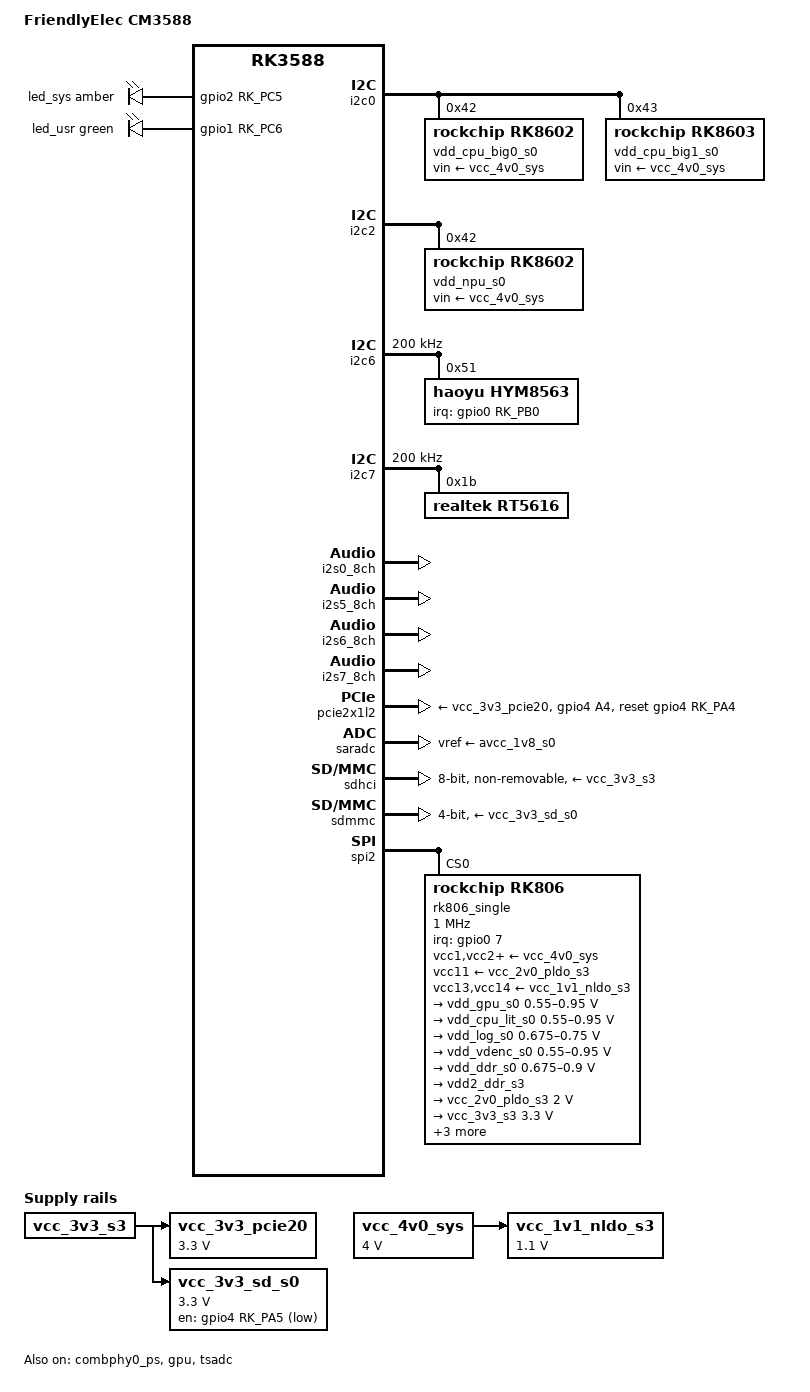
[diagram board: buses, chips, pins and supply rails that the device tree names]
// SPDX-License-Identifier: (GPL-2.0+ OR MIT)
/*
 * Copyright (c) 2021 Rockchip Electronics Co., Ltd.
 * Copyright (c) 2023 Thomas McKahan
 * Copyright (c) 2024 Sebastian Kropatsch
 *
 */

/dts-v1/;

#include <dt-bindings/gpio/gpio.h>
#include <dt-bindings/leds/common.h>
#include <dt-bindings/pinctrl/rockchip.h>
#include "rk3588.dtsi"

/ {
	model = "FriendlyElec CM3588";
	compatible = "friendlyarm,cm3588", "rockchip,rk3588";

	aliases {
		mmc0 = &sdhci;
		mmc1 = &sdmmc;
	};

	chosen {
		stdout-path = "serial2:1500000n8";
	};

	leds {
		compatible = "gpio-leds";

		led_sys: led-0 {
			color = <LED_COLOR_ID_AMBER>;
			function = LED_FUNCTION_HEARTBEAT;
			gpios = <&gpio2 RK_PC5 GPIO_ACTIVE_HIGH>;
			linux,default-trigger = "heartbeat";
			pinctrl-names = "default";
			pinctrl-0 = <&led_sys_pin>;
		};

		led_usr: led-1 {
			color = <LED_COLOR_ID_GREEN>;
			function = LED_FUNCTION_INDICATOR;
			gpios = <&gpio1 RK_PC6 GPIO_ACTIVE_HIGH>;
			pinctrl-names = "default";
			pinctrl-0 = <&led_usr_pin>;
		};
	};

	/* vcc_4v0_sys powers the RK806 and RK860's */
	vcc_4v0_sys: regulator-vcc-4v0-sys {
		compatible = "regulator-fixed";
		regulator-name = "vcc_4v0_sys";
		regulator-always-on;
		regulator-boot-on;
		regulator-min-microvolt = <4000000>;
		regulator-max-microvolt = <4000000>;
	};

	vcc_3v3_pcie20: regulator-vcc-3v3-pcie20 {
		compatible = "regulator-fixed";
		regulator-name = "vcc_3v3_pcie20";
		regulator-always-on;
		regulator-boot-on;
		regulator-min-microvolt = <3300000>;
		regulator-max-microvolt = <3300000>;
		vin-supply = <&vcc_3v3_s3>;
	};

	vcc_3v3_sd_s0: regulator-vcc-3v3-sd-s0 {
		compatible = "regulator-fixed";
		gpios = <&gpio4 RK_PA5 GPIO_ACTIVE_HIGH>;
		pinctrl-names = "default";
		pinctrl-0 = <&sd_s0_pwr>;
		regulator-boot-on;
		regulator-max-microvolt = <3300000>;
		regulator-min-microvolt = <3300000>;
		regulator-name = "vcc_3v3_sd_s0";
		vin-supply = <&vcc_3v3_s3>;
	};

	vcc_1v1_nldo_s3: regulator-vcc-1v1-nldo-s3 {
		compatible = "regulator-fixed";
		regulator-name = "vcc-1v1-nldo-s3";
		regulator-always-on;
		regulator-boot-on;
		regulator-min-microvolt = <1100000>;
		regulator-max-microvolt = <1100000>;
		vin-supply = <&vcc_4v0_sys>;
	};
};

/* Combo PHY 0 is configured to act as as PCIe 2.0 PHY */
/* Used by PCIe controller 4 (pcie2x1l2) */
&combphy0_ps {
	status = "okay";
};

&cpu_l0 {
	cpu-supply = <&vdd_cpu_lit_s0>;
};

&cpu_l1 {
	cpu-supply = <&vdd_cpu_lit_s0>;
};

&cpu_l2 {
	cpu-supply = <&vdd_cpu_lit_s0>;
};

&cpu_l3 {
	cpu-supply = <&vdd_cpu_lit_s0>;
};

&cpu_b0 {
	cpu-supply = <&vdd_cpu_big0_s0>;
};

&cpu_b1 {
	cpu-supply = <&vdd_cpu_big0_s0>;
};

&cpu_b2 {
	cpu-supply = <&vdd_cpu_big1_s0>;
};

&cpu_b3 {
	cpu-supply = <&vdd_cpu_big1_s0>;
};

&gpu {
	mali-supply = <&vdd_gpu_s0>;
	sram-supply = <&vdd_gpu_mem_s0>;
	status = "okay";
};

&i2c0 {
	pinctrl-names = "default";
	pinctrl-0 = <&i2c0m2_xfer>;
	status = "okay";

	vdd_cpu_big0_s0: regulator@42 {
		compatible = "rockchip,rk8602";
		reg = <0x42>;
		fcs,suspend-voltage-selector = <1>;
		regulator-name = "vdd_cpu_big0_s0";
		regulator-always-on;
		regulator-boot-on;
		regulator-min-microvolt = <550000>;
		regulator-max-microvolt = <1050000>;
		regulator-ramp-delay = <2300>;
		vin-supply = <&vcc_4v0_sys>;

		regulator-state-mem {
			regulator-off-in-suspend;
		};
	};

	vdd_cpu_big1_s0: regulator@43 {
		compatible = "rockchip,rk8603", "rockchip,rk8602";
		reg = <0x43>;
		fcs,suspend-voltage-selector = <1>;
		regulator-name = "vdd_cpu_big1_s0";
		regulator-always-on;
		regulator-boot-on;
		regulator-min-microvolt = <550000>;
		regulator-max-microvolt = <1050000>;
		regulator-ramp-delay = <2300>;
		vin-supply = <&vcc_4v0_sys>;

		regulator-state-mem {
			regulator-off-in-suspend;
		};
	};
};

&i2c2 {
	status = "okay";

	vdd_npu_s0: regulator@42 {
		compatible = "rockchip,rk8602";
		reg = <0x42>;
		fcs,suspend-voltage-selector = <1>;
		regulator-name = "vdd_npu_s0";
		regulator-always-on;
		regulator-boot-on;
		regulator-min-microvolt = <550000>;
		regulator-max-microvolt = <950000>;
		regulator-ramp-delay = <2300>;
		vin-supply = <&vcc_4v0_sys>;

		regulator-state-mem {
			regulator-off-in-suspend;
		};
	};
};

&i2c6 {
	clock-frequency = <200000>;
	pinctrl-names = "default";
	pinctrl-0 = <&i2c6m0_xfer>;
	status = "okay";

	hym8563: rtc@51 {
		compatible = "haoyu,hym8563";
		reg = <0x51>;
		#clock-cells = <0>;
		clock-output-names = "hym8563";
		interrupt-parent = <&gpio0>;
		interrupts = <RK_PB0 IRQ_TYPE_LEVEL_LOW>;
		pinctrl-names = "default";
		pinctrl-0 = <&hym8563_int>;
		wakeup-source;
	};
};

&i2c7 {
	clock-frequency = <200000>;
	status = "okay";

	rt5616: audio-codec@1b {
		compatible = "realtek,rt5616";
		reg = <0x1b>;
		#sound-dai-cells = <0>;
		assigned-clocks = <&cru I2S0_8CH_MCLKOUT>;
		assigned-clock-rates = <12288000>;
		clocks = <&cru I2S0_8CH_MCLKOUT>;
		clock-names = "mclk";
	};
};

&i2s0_8ch {
	pinctrl-names = "default";
	pinctrl-0 = <&i2s0_lrck
				&i2s0_mclk
				&i2s0_sclk
				&i2s0_sdi0
				&i2s0_sdo0>;
	status = "okay";
};

&i2s5_8ch {
	status = "okay";
};

&i2s6_8ch {
	status = "okay";
};

&i2s7_8ch {
	status = "okay";
};

&pcie2x1l2 {
	/* r8125 ethernet, @fe190000 */
	pinctrl-names = "default";
	pinctrl-0 = <&pcie2_2_rst>;
	reset-gpios = <&gpio4 RK_PA4 GPIO_ACTIVE_HIGH>;
	vpcie3v3-supply = <&vcc_3v3_pcie20>;
	status = "okay";
};

&pd_gpu {
	domain-supply = <&vdd_gpu_s0>;
};

&pinctrl {
	gpio-leds {
		led_sys_pin: led-sys-pin {
			rockchip,pins = <2 RK_PC5 RK_FUNC_GPIO &pcfg_pull_none>;
		};

		led_usr_pin: led-usr-pin {
			rockchip,pins = <1 RK_PC6 RK_FUNC_GPIO &pcfg_pull_none>;
		};
	};

	hym8563 {
		hym8563_int: rtc-int {
			rockchip,pins = <0 RK_PB0 RK_FUNC_GPIO &pcfg_pull_up>;
		};
	};

	pcie {
		pcie2_2_rst: pcie2-2-rst {
			rockchip,pins = <4 RK_PA4 RK_FUNC_GPIO &pcfg_pull_none>;
		};
	};

	sdmmc {
		sd_s0_pwr: sd-s0-pwr {
			rockchip,pins = <4 RK_PA5 RK_FUNC_GPIO &pcfg_pull_up>;
		};
	};
};

&saradc {
	vref-supply = <&avcc_1v8_s0>;
	status = "okay";
};

/* eMMC */
&sdhci {
	bus-width = <8>;
	mmc-hs400-1_8v;
	mmc-hs400-enhanced-strobe;
	no-sd;
	no-sdio;
	non-removable;
	vmmc-supply = <&vcc_3v3_s3>;
	vqmmc-supply = <&vcc_1v8_s3>;
	status = "okay";
};

/* microSD card */
&sdmmc {
	bus-width = <4>;
	cap-sd-highspeed;
	disable-wp;
	max-frequency = <150000000>;
	no-mmc;
	no-sdio;
	sd-uhs-sdr104;
	vmmc-supply = <&vcc_3v3_sd_s0>;
	vqmmc-supply = <&vccio_sd_s0>;
};

&spi2 {
	assigned-clocks = <&cru CLK_SPI2>;
	assigned-clock-rates = <200000000>;
	num-cs = <1>;
	pinctrl-names = "default";
	pinctrl-0 = <&spi2m2_cs0 &spi2m2_pins>;
	status = "okay";

	rk806_single: pmic@0 {
		compatible = "rockchip,rk806";
		reg = <0x0>;

		interrupt-parent = <&gpio0>;
		interrupts = <7 IRQ_TYPE_LEVEL_LOW>;

		pinctrl-names = "default";
		pinctrl-0 = <&pmic_pins>, <&rk806_dvs1_null>,
			    <&rk806_dvs2_null>, <&rk806_dvs3_null>;

		spi-max-frequency = <1000000>;
		system-power-controller;

		vcc1-supply = <&vcc_4v0_sys>;
		vcc2-supply = <&vcc_4v0_sys>;
		vcc3-supply = <&vcc_4v0_sys>;
		vcc4-supply = <&vcc_4v0_sys>;
		vcc5-supply = <&vcc_4v0_sys>;
		vcc6-supply = <&vcc_4v0_sys>;
		vcc7-supply = <&vcc_4v0_sys>;
		vcc8-supply = <&vcc_4v0_sys>;
		vcc9-supply = <&vcc_4v0_sys>;
		vcc10-supply = <&vcc_4v0_sys>;
		vcc11-supply = <&vcc_2v0_pldo_s3>;
		vcc12-supply = <&vcc_4v0_sys>;
		vcc13-supply = <&vcc_1v1_nldo_s3>;
		vcc14-supply = <&vcc_1v1_nldo_s3>;
		vcca-supply = <&vcc_4v0_sys>;

		gpio-controller;
		#gpio-cells = <2>;

		rk806_dvs1_null: dvs1-null-pins {
			pins = "gpio_pwrctrl1";
			function = "pin_fun0";
		};

		rk806_dvs2_null: dvs2-null-pins {
			pins = "gpio_pwrctrl2";
			function = "pin_fun0";
		};

		rk806_dvs3_null: dvs3-null-pins {
			pins = "gpio_pwrctrl3";
			function = "pin_fun0";
		};

		regulators {
			vdd_gpu_s0: vdd_gpu_mem_s0: dcdc-reg1 {
				regulator-boot-on;
				regulator-min-microvolt = <550000>;
				regulator-max-microvolt = <950000>;
				regulator-ramp-delay = <12500>;
				regulator-name = "vdd_gpu_s0";
				regulator-enable-ramp-delay = <400>;

				regulator-state-mem {
					regulator-off-in-suspend;
				};
			};

			vdd_cpu_lit_s0: vdd_cpu_lit_mem_s0: dcdc-reg2 {
				regulator-always-on;
				regulator-boot-on;
				regulator-min-microvolt = <550000>;
				regulator-max-microvolt = <950000>;
				regulator-ramp-delay = <12500>;
				regulator-name = "vdd_cpu_lit_s0";

				regulator-state-mem {
					regulator-off-in-suspend;
				};
			};

			vdd_log_s0: dcdc-reg3 {
				regulator-always-on;
				regulator-boot-on;
				regulator-min-microvolt = <675000>;
				regulator-max-microvolt = <750000>;
				regulator-ramp-delay = <12500>;
				regulator-name = "vdd_log_s0";

				regulator-state-mem {
					regulator-off-in-suspend;
					regulator-suspend-microvolt = <750000>;
				};
			};

			vdd_vdenc_s0: vdd_vdenc_mem_s0: dcdc-reg4 {
				regulator-always-on;
				regulator-boot-on;
				regulator-min-microvolt = <550000>;
				regulator-max-microvolt = <950000>;
				regulator-ramp-delay = <12500>;
				regulator-name = "vdd_vdenc_s0";

				regulator-state-mem {
					regulator-off-in-suspend;
				};
			};

			vdd_ddr_s0: dcdc-reg5 {
				regulator-always-on;
				regulator-boot-on;
				regulator-min-microvolt = <675000>;
				regulator-max-microvolt = <900000>;
				regulator-ramp-delay = <12500>;
				regulator-name = "vdd_ddr_s0";

				regulator-state-mem {
					regulator-off-in-suspend;
					regulator-suspend-microvolt = <850000>;
				};
			};

			vdd2_ddr_s3: dcdc-reg6 {
				regulator-always-on;
				regulator-boot-on;
				regulator-name = "vdd2_ddr_s3";

				regulator-state-mem {
					regulator-on-in-suspend;
				};
			};

			vcc_2v0_pldo_s3: dcdc-reg7 {
				regulator-always-on;
				regulator-boot-on;
				regulator-min-microvolt = <2000000>;
				regulator-max-microvolt = <2000000>;
				regulator-ramp-delay = <12500>;
				regulator-name = "vdd_2v0_pldo_s3";

				regulator-state-mem {
					regulator-on-in-suspend;
					regulator-suspend-microvolt = <2000000>;
				};
			};

			vcc_3v3_s3: dcdc-reg8 {
				regulator-always-on;
				regulator-boot-on;
				regulator-min-microvolt = <3300000>;
				regulator-max-microvolt = <3300000>;
				regulator-name = "vcc_3v3_s3";

				regulator-state-mem {
					regulator-on-in-suspend;
					regulator-suspend-microvolt = <3300000>;
				};
			};

			vddq_ddr_s0: dcdc-reg9 {
				regulator-always-on;
				regulator-boot-on;
				regulator-name = "vddq_ddr_s0";

				regulator-state-mem {
					regulator-off-in-suspend;
				};
			};

			vcc_1v8_s3: dcdc-reg10 {
				regulator-always-on;
				regulator-boot-on;
				regulator-min-microvolt = <1800000>;
				regulator-max-microvolt = <1800000>;
				regulator-name = "vcc_1v8_s3";

				regulator-state-mem {
					regulator-on-in-suspend;
					regulator-suspend-microvolt = <1800000>;
				};
			};

			avcc_1v8_s0: pldo-reg1 {
				regulator-always-on;
				regulator-boot-on;
				regulator-min-microvolt = <1800000>;
				regulator-max-microvolt = <1800000>;
				regulator-name = "avcc_1v8_s0";

				regulator-state-mem {
					regulator-off-in-suspend;
				};
			};

			vcc_1v8_s0: pldo-reg2 {
				regulator-always-on;
				regulator-boot-on;
				regulator-min-microvolt = <1800000>;
				regulator-max-microvolt = <1800000>;
				regulator-name = "vcc_1v8_s0";

				regulator-state-mem {
					regulator-off-in-suspend;
					regulator-suspend-microvolt = <1800000>;
				};
			};

			avdd_1v2_s0: pldo-reg3 {
				regulator-always-on;
				regulator-boot-on;
				regulator-min-microvolt = <1200000>;
				regulator-max-microvolt = <1200000>;
				regulator-name = "avdd_1v2_s0";

				regulator-state-mem {
					regulator-off-in-suspend;
				};
			};

			vcc_3v3_s0: pldo-reg4 {
				regulator-always-on;
				regulator-boot-on;
				regulator-min-microvolt = <3300000>;
				regulator-max-microvolt = <3300000>;
				regulator-ramp-delay = <12500>;
				regulator-name = "vcc_3v3_s0";

				regulator-state-mem {
					regulator-off-in-suspend;
				};
			};

			vccio_sd_s0: pldo-reg5 {
				regulator-always-on;
				regulator-boot-on;
				regulator-min-microvolt = <1800000>;
				regulator-max-microvolt = <3300000>;
				regulator-ramp-delay = <12500>;
				regulator-name = "vccio_sd_s0";

				regulator-state-mem {
					regulator-off-in-suspend;
				};
			};

			pldo6_s3: pldo-reg6 {
				regulator-always-on;
				regulator-boot-on;
				regulator-min-microvolt = <1800000>;
				regulator-max-microvolt = <1800000>;
				regulator-name = "pldo6_s3";

				regulator-state-mem {
					regulator-on-in-suspend;
					regulator-suspend-microvolt = <1800000>;
				};
			};

			vdd_0v75_s3: nldo-reg1 {
				regulator-always-on;
				regulator-boot-on;
				regulator-min-microvolt = <750000>;
				regulator-max-microvolt = <750000>;
				regulator-name = "vdd_0v75_s3";

				regulator-state-mem {
					regulator-on-in-suspend;
					regulator-suspend-microvolt = <750000>;
				};
			};

			vdd_ddr_pll_s0: nldo-reg2 {
				regulator-always-on;
				regulator-boot-on;
				regulator-min-microvolt = <850000>;
				regulator-max-microvolt = <850000>;
				regulator-name = "vdd_ddr_pll_s0";

				regulator-state-mem {
					regulator-off-in-suspend;
					regulator-suspend-microvolt = <850000>;
				};
			};

			avdd_0v75_s0: nldo-reg3 {
				regulator-always-on;
				regulator-boot-on;
				regulator-min-microvolt = <750000>;
				regulator-max-microvolt = <750000>;
				regulator-name = "avdd_0v75_s0";

				regulator-state-mem {
					regulator-off-in-suspend;
				};
			};

			vdd_0v85_s0: nldo-reg4 {
				regulator-always-on;
				regulator-boot-on;
				regulator-min-microvolt = <850000>;
				regulator-max-microvolt = <850000>;
				regulator-name = "vdd_0v85_s0";

				regulator-state-mem {
					regulator-off-in-suspend;
				};
			};

			vdd_0v75_s0: nldo-reg5 {
				regulator-always-on;
				regulator-boot-on;
				regulator-min-microvolt = <750000>;
				regulator-max-microvolt = <750000>;
				regulator-name = "vdd_0v75_s0";

				regulator-state-mem {
					regulator-off-in-suspend;
				};
			};
		};
	};
};

&tsadc {
	status = "okay";
};

/* Debug UART */
&uart2 {
	pinctrl-names = "default";
	pinctrl-0 = <&uart2m0_xfer>;
};
